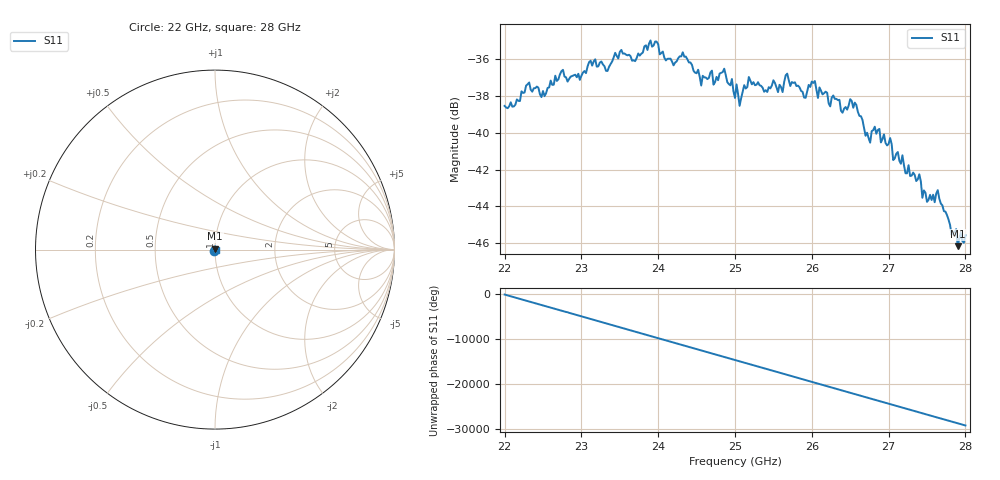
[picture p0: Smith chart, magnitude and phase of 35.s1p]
#  HZ  S  RI  R  50.00
! Rohde & Schwarz ZVA40 4Ports - Version 3.90 - 1145.1110k42 SN: 100403
! Date: 2023-10-04 08:44:17
! Measurement: S12
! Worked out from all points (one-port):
!   301 points, 22 GHz to 28 GHz, reference 50 ohm
!   lowest |S11| = -46.2 dB at 27.9 GHz (marker M1), VSWR 1.01, Z = 50.1 + j0.478 ohm
!   |S11| at or under -10 dB: start of sweep to end of sweep
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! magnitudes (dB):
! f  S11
! 22 GHz  -38.5
! 22.32 GHz  -37.3
! 22.52 GHz  -38.0
! 22.76 GHz  -36.6
! 22.98 GHz  -37.1
! 23.5 GHz  -35.6
! 23.7 GHz  -36.1
! 23.9 GHz  -35.0
! 24.26 GHz  -35.9
! 24.56 GHz  -37.4
! 24.86 GHz  -36.5
! 25 GHz  -38.1
! 25.02 GHz  -37.4
! 25.06 GHz  -38.5
! 25.18 GHz  -37.0
! 25.76 GHz  -37.3
! 25.92 GHz  -38.1
! 26.04 GHz  -37.2
! 26.4 GHz  -38.9
! 26.5 GHz  -38.2
! 26.76 GHz  -40.5
! 26.88 GHz  -39.8
! 27.06 GHz  -41.5
! 27.26 GHz  -41.8
! 27.5 GHz  -43.8
! 27.64 GHz  -43.1
! 27.9 GHz  -46.2
! 28 GHz  -45.6
